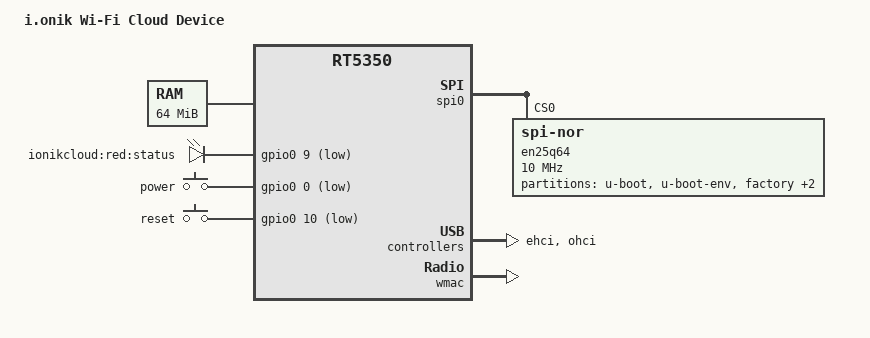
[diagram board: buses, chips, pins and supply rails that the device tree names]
/dts-v1/;

#include "rt5350.dtsi"

/ {
   compatible = "ionikcloud", "ralink,rt5350-soc";
   model = "i.onik Wi-Fi Cloud Device";

        memory@0 {
                device_type = "memory";
                reg = <0x0 0x4000000>;
        };


   gpio-leds {
       compatible = "gpio-leds";

       status {
           label = "ionikcloud:red:status";
           gpios = <&gpio0 9 1>;
       };
   };

   gpio-keys-polled {
       compatible = "gpio-keys-polled";
       #address-cells = <1>;
       #size-cells = <0>;
       poll-interval = <20>;

       power {
           label = "power";
           gpios = <&gpio0 0 1>;
           linux,code = <0x116>;
       };

       reset {
           label = "reset";
           gpios = <&gpio0 10 1>;
           linux,code = <0x198>;
       };
   };
};


&spi0 {
   status = "okay";

   en25q64@0 {
       #address-cells = <1>;
       #size-cells = <1>;
       compatible = "jedec,spi-nor";
       reg = <0>;
       linux,modalias = "m25p80", "en25q64";
       spi-max-frequency = <10000000>;

       partition@0 {
           label = "u-boot";
           reg = <0x0 0x30000>;
           read-only;
       };

       partition@30000 {
           label = "u-boot-env";
           reg = <0x30000 0x10000>;
           read-only;
       };

       factory: partition@40000 {
           label = "factory";
           reg = <0x40000 0x10000>;
           read-only;
       };

       partition@50000 {
           label = "recover";
           reg = <0x50000 0x1c0000>;
       };

       partition@210040 {
           label = "firmware";
           reg = <0x210000 0x5f0000>;
       };
   };
};

&pinctrl {
   state_default: pinctrl0 {
       gpio {
           ralink,group = "i2c", "jtag", "rgmii", "mdio", "uartf";
           ralink,function = "gpio";
       };
   };
};

&ehci {
   status = "okay";
};

&ohci {
   status = "okay";
};

&wmac {
   ralink,mtd-eeprom = <&factory 0>;
};
